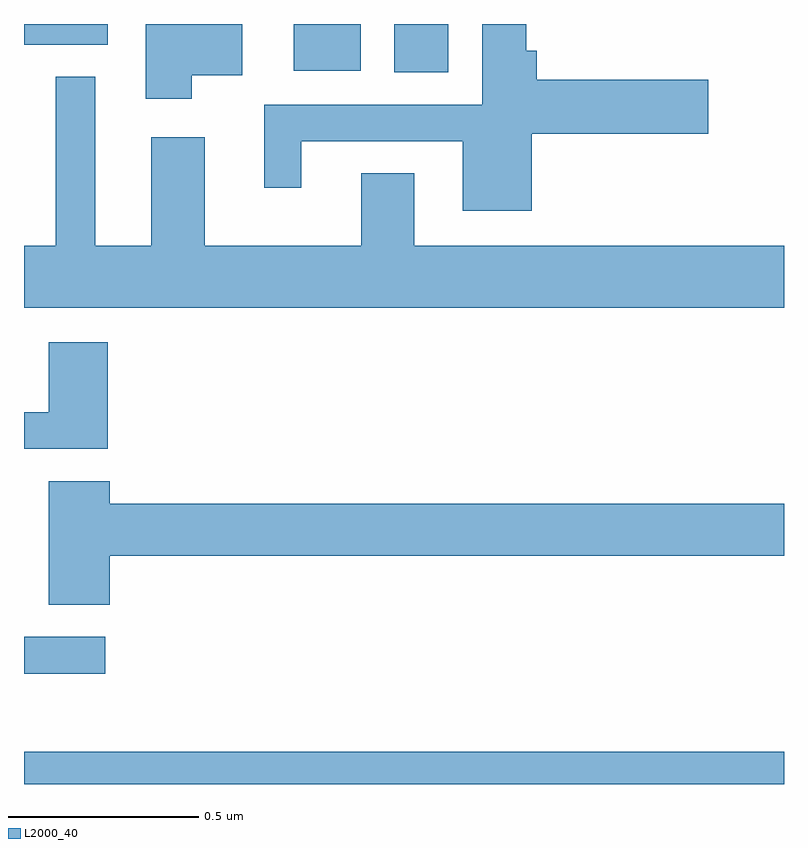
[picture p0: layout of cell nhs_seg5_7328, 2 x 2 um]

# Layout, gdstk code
import gdstk
lib = gdstk.Library(unit=1e-6, precision=1e-09)
def R(c, l, rs):  # rectangles x0, y0, x1, y1
    for r in rs: c.add(gdstk.rectangle(r[:2], r[2:], *l))
def P(c, l, *ps):  # polygons
    for p in ps: c.add(gdstk.Polygon(p, *l))
L2000_40 = (2000, 40)

nhs_seg5_7328 = lib.new_cell('nhs_seg5_7328')
R(nhs_seg5_7328, L2000_40, [(207,896.799,209,896.884), (207,897.089,207.214,897.186), (207.974,898.672,208.117,898.799), (207.71,898.676,207.886,898.799), (207,898.745,207.22,898.799)])
P(nhs_seg5_7328, L2000_40, [(208.336,898.51),(208.801,898.51),(208.801,898.652),(208.349,898.652),(208.349,898.729),(208.322,898.729),(208.322,898.799),(208.206,898.799),(208.206,898.587),(207.632,898.587),(207.632,898.368),(207.73,898.368),(207.73,898.491),(208.154,898.491),(208.154,898.307),(208.336,898.307)],
  [(207.442,898.664),(207.574,898.664),(207.574,898.799),(207.32,898.799),(207.32,898.602),(207.442,898.602)],
  [(209,898.216),(208.027,898.216),(208.027,898.406),(207.887,898.406),(207.887,898.216),(207.475,898.216),(207.475,898.501),(207.335,898.501),(207.335,898.216),(207.187,898.216),(207.187,898.66),(207.083,898.66),(207.083,898.216),(207,898.216),(207,898.052),(209,898.052)],
  [(207.221,897.961),(207.065,897.961),(207.065,897.777),(207,897.777),(207,897.681),(207.221,897.681)],
  [(207.226,897.4),(209,897.4),(209,897.536),(207.226,897.536),(207.226,897.596),(207.065,897.596),(207.065,897.271),(207.226,897.271)])

lib.write_gds('nhs_seg5_7328.gds')
